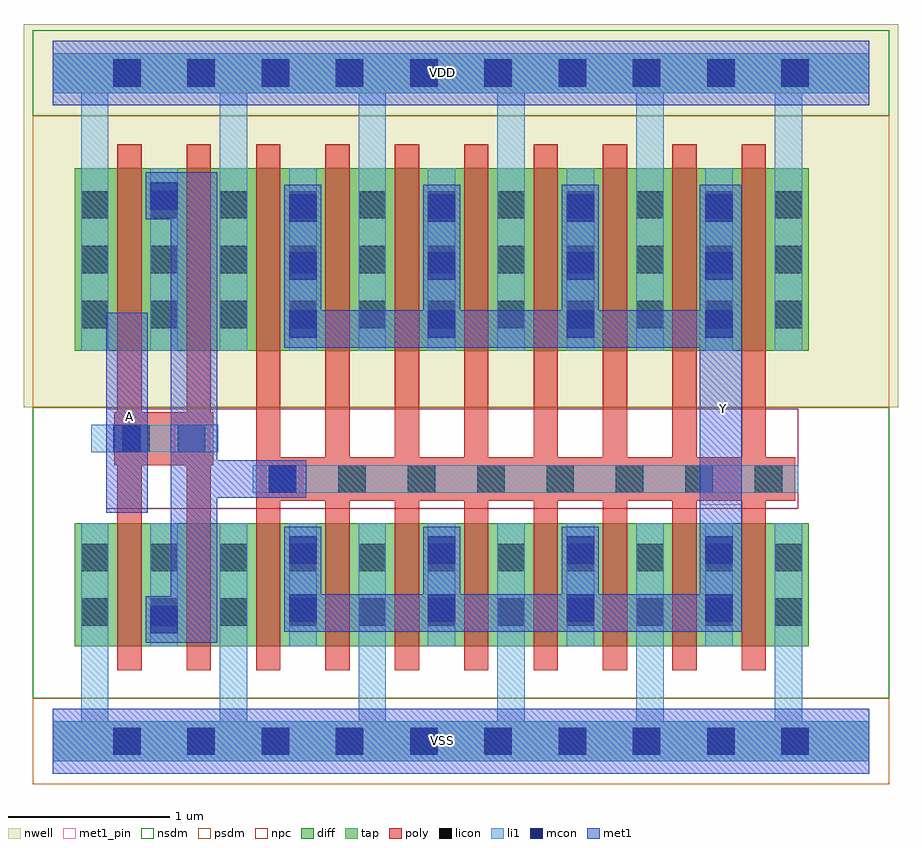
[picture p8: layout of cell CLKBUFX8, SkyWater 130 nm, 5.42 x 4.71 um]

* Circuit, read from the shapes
.subckt CLKBUFX8 A VDD VSS Y
XM1 n1 A VSS VSS sky130_fd_pr__nfet_01v8 w=0.76 l=0.15 m=2
XM2 Y n1 VSS VSS sky130_fd_pr__nfet_01v8 w=0.76 l=0.15 m=8
XM3 n1 A VDD VDD sky130_fd_pr__pfet_01v8 w=1.13 l=0.15 m=2
XM4 Y n1 VDD VDD sky130_fd_pr__pfet_01v8 w=1.13 l=0.15 m=8
.ends

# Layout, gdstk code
from math import pi, radians
import gdstk
lib = gdstk.Library(unit=1e-6, precision=1e-09)
def R(c, l, rs):  # rectangles x0, y0, x1, y1
    for r in rs: c.add(gdstk.rectangle(r[:2], r[2:], *l))
def A(c, l, x, y, w, h, nx, ny, dx, dy):  # array of equal rectangles
    R(c, l, [(x+i*dx, y+j*dy, x+i*dx+w, y+j*dy+h) for i in range(nx) for j in range(ny)])
def P(c, l, *ps):  # polygons
    for p in ps: c.add(gdstk.Polygon(p, *l))
nwell = (64, 20)
diff = (65, 20)
tap = (65, 44)
poly = (66, 20)
licon = (66, 44)
li1 = (67, 20)
mcon = (67, 44)
met1_pin = (68, 16)
met1 = (68, 20)
nsdm = (93, 44)
psdm = (94, 20)
npc = (95, 20)

l1m1_c_cdns_751554744753 = lib.new_cell('L1M1_C_CDNS_751554744753')
R(l1m1_c_cdns_751554744753, li1, [(-0.085,-0.165,0.085,0.165)])
R(l1m1_c_cdns_751554744753, mcon, [(-0.085,-0.085,0.085,0.085)])
R(l1m1_c_cdns_751554744753, met1, [(-0.115,-0.145,0.115,0.145)])

pyl1con_c_cdns_751554744 = lib.new_cell('PYL1CON_C_CDNS_751554744751')
R(pyl1con_c_cdns_751554744, poly, [(-0.135,-0.165,0.135,0.165)])
R(pyl1con_c_cdns_751554744, licon, [(-0.085,-0.085,0.085,0.085)])
R(pyl1con_c_cdns_751554744, npc, [(-0.185,-0.185,0.185,0.185)])

l1m1_c_cdns_751554744750 = lib.new_cell('L1M1_C_CDNS_751554744750')
R(l1m1_c_cdns_751554744750, li1, [(-0.165,-0.085,0.165,0.085)])
R(l1m1_c_cdns_751554744750, mcon, [(-0.085,-0.085,0.085,0.085)])
R(l1m1_c_cdns_751554744750, met1, [(-0.115,-0.145,0.115,0.145)])

l1m1_c_cdns_751554744752 = lib.new_cell('L1M1_C_CDNS_751554744752')
R(l1m1_c_cdns_751554744752, li1, [(-0.085,-0.345,0.085,0.345)])
R(l1m1_c_cdns_751554744752, mcon, [(-0.085,-0.265,0.085,-0.095), (-0.085,0.095,0.085,0.265)])
R(l1m1_c_cdns_751554744752, met1, [(-0.115,-0.325,0.115,0.325)])

l1m1_c_cdns_751554744757 = lib.new_cell('L1M1_C_CDNS_751554744757')
R(l1m1_c_cdns_751554744757, li1, [(-0.085,-0.525,0.085,0.525)])
A(l1m1_c_cdns_751554744757, mcon, -0.085, -0.445, 0.17, 0.17, 1, 3, 0, 0.36)
R(l1m1_c_cdns_751554744757, met1, [(-0.115,-0.505,0.115,0.505)])

polyconn_cdns_7515547447 = lib.new_cell('polyConn_CDNS_751554744751')
R(polyconn_cdns_7515547447, poly, [(-0.135,-0.165,0.135,0.165)])
R(polyconn_cdns_7515547447, licon, [(-0.085,-0.085,0.085,0.085)])
R(polyconn_cdns_7515547447, li1, [(-0.085,-0.165,0.085,0.165)])
R(polyconn_cdns_7515547447, mcon, [(-0.085,-0.085,0.085,0.085)])
R(polyconn_cdns_7515547447, met1, [(-0.115,-0.145,0.115,0.145)])
R(polyconn_cdns_7515547447, npc, [(-0.185,-0.185,0.185,0.185)])

c_pyl1con_c_cdns_751554744 = lib.new_cell('PYL1CON_C_CDNS_7515547447517')
R(c_pyl1con_c_cdns_751554744, poly, [(-0.165,-0.135,0.165,0.135)])
R(c_pyl1con_c_cdns_751554744, licon, [(-0.085,-0.085,0.085,0.085)])
R(c_pyl1con_c_cdns_751554744, npc, [(-0.185,-0.185,0.185,0.185)])

clkbufx8 = lib.new_cell('CLKBUFX8')
R(clkbufx8, nwell, [(-0.18,2.07,5.24,4.445)])
R(clkbufx8, diff, [(0.135,0.59,4.685,1.35), (0.135,2.42,4.685,3.55)])
P(clkbufx8, poly, [(4.56,1.76),(4.42,1.76),(4.42,3.7),(4.27,3.7),(4.27,1.76),(3.99,1.76),(3.99,3.7),(3.84,3.7),(3.84,1.76),(3.56,1.76),(3.56,3.7),(3.41,3.7),(3.41,1.76),(3.13,1.76),(3.13,3.7),(2.98,3.7),(2.98,1.76),(2.7,1.76),(2.7,3.7),(2.55,3.7),(2.55,1.76),(2.27,1.76),(2.27,3.7),(2.12,3.7),(2.12,1.76),(1.84,1.76),(1.84,3.7),(1.69,3.7),(1.69,1.76),(1.41,1.76),(1.41,3.7),(1.26,3.7),(1.26,0.44),(1.41,0.44),(1.41,1.49),(1.69,1.49),(1.69,0.44),(1.84,0.44),(1.84,1.49),(2.12,1.49),(2.12,0.44),(2.27,0.44),(2.27,1.49),(2.55,1.49),(2.55,0.44),(2.7,0.44),(2.7,1.49),(2.98,1.49),(2.98,0.44),(3.13,0.44),(3.13,1.49),(3.41,1.49),(3.41,0.44),(3.56,0.44),(3.56,1.49),(3.84,1.49),(3.84,0.44),(3.99,0.44),(3.99,1.49),(4.27,1.49),(4.27,0.44),(4.42,0.44),(4.42,1.49),(4.56,1.49)],
  [(0.98,3.7),(0.83,3.7),(0.83,2.04),(0.55,2.04),(0.55,3.7),(0.4,3.7),(0.4,2.04),(0.38,2.04),(0.38,1.71),(0.4,1.71),(0.4,0.44),(0.55,0.44),(0.55,1.71),(0.83,1.71),(0.83,0.44),(0.98,0.44)])
A(clkbufx8, licon, 0.375, -0.085, 0.17, 0.17, 10, 2, 0.46, 4.14)
A(clkbufx8, licon, 0.175, 0.715, 0.17, 0.17, 11, 2, 0.43, 0.34)
A(clkbufx8, licon, 0.175, 2.56, 0.17, 0.17, 11, 3, 0.43, 0.34)
A(clkbufx8, li1, 0.605, 0.59, 0.17, 0.76, 5, 1, 0.86, 0)
A(clkbufx8, li1, 0.605, 2.42, 0.17, 1.13, 5, 1, 0.86, 0)
P(clkbufx8, li1, [(5.06,0.125),(4.645,0.125),(4.645,1.35),(4.475,1.35),(4.475,0.125),(3.785,0.125),(3.785,1.35),(3.615,1.35),(3.615,0.125),(2.925,0.125),(2.925,1.35),(2.755,1.35),(2.755,0.125),(2.065,0.125),(2.065,1.35),(1.895,1.35),(1.895,0.125),(1.205,0.125),(1.205,1.35),(1.035,1.35),(1.035,0.125),(0.345,0.125),(0.345,1.35),(0.175,1.35),(0.175,0.125),(0,0.125),(0,-0.125),(5.06,-0.125)],
  [(5.06,4.265),(0,4.265),(0,4.015),(0.175,4.015),(0.175,2.42),(0.345,2.42),(0.345,4.015),(1.035,4.015),(1.035,2.42),(1.205,2.42),(1.205,4.015),(1.895,4.015),(1.895,2.42),(2.065,2.42),(2.065,4.015),(2.755,4.015),(2.755,2.42),(2.925,2.42),(2.925,4.015),(3.615,4.015),(3.615,2.42),(3.785,2.42),(3.785,4.015),(4.475,4.015),(4.475,2.42),(4.645,2.42),(4.645,4.015),(5.06,4.015)])
A(clkbufx8, mcon, 0.375, -0.085, 0.17, 0.17, 10, 2, 0.46, 4.14)
R(clkbufx8, met1_pin, [(0.33,1.415,0.59,2.655), (4.01,1.465,4.27,2.705)])
P(clkbufx8, met1, [(1.415,1.74),(1.02,1.74),(1.02,3.525),(0.73,3.525),(0.73,0.61),(1.02,0.61),(1.02,1.51),(1.415,1.51)],
  [(4.27,3.45),(4.01,3.45),(4.01,2.67),(1.665,2.67),(1.665,2.945),(1.435,2.945),(1.435,2.44),(4.01,2.44),(4.01,0.91),(2.525,0.91),(2.525,1.005),(2.295,1.005),(2.295,0.91),(1.665,0.91),(1.665,1.005),(1.435,1.005),(1.435,0.68),(4.27,0.68)])
R(clkbufx8, nsdm, [(-0.125,0.265,5.185,2.07), (-0.125,3.875,5.185,4.405)])
R(clkbufx8, psdm, [(-0.125,-0.265,5.185,0.265), (-0.125,2.07,5.185,3.875)])
R(clkbufx8, npc, [(0.33,1.44,4.62,2.06)])
clkbufx8.add(gdstk.FlexPath([(1.24,1.625),(4.62,1.625)], 0.17, ends="flush", simple_path=True, layer=67, datatype=20))  # li1
clkbufx8.add(gdstk.FlexPath([(0.24,1.875),(1.025,1.875)], 0.17, ends="flush", simple_path=True, layer=67, datatype=20))  # li1
clkbufx8.add(gdstk.FlexPath([(0,4.14),(5.06,4.14)], 0.25, ends="flush", simple_path=True, layer=65, datatype=44))  # tap
clkbufx8.add(gdstk.FlexPath([(0,0),(5.06,0)], 0.25, ends="flush", simple_path=True, layer=65, datatype=44))  # tap
clkbufx8.add(gdstk.FlexPath([(0,0),(5.06,0)], 0.4, ends="flush", simple_path=True, layer=68, datatype=20))  # met1
clkbufx8.add(gdstk.FlexPath([(0,4.14),(5.06,4.14)], 0.4, ends="flush", simple_path=True, layer=68, datatype=20))  # met1
clkbufx8.add(gdstk.FlexPath([(0.46,1.415),(0.46,2.655)], 0.26, ends="flush", simple_path=True, layer=68, datatype=20))  # met1
clkbufx8.add(gdstk.FlexPath([(0,4.14),(5.06,4.14)], 0.4, ends="flush", simple_path=True, layer=68, datatype=16))  # met1_pin
clkbufx8.add(gdstk.FlexPath([(0,0),(5.06,0)], 0.4, ends="flush", simple_path=True, layer=68, datatype=16))  # met1_pin
clkbufx8.add(gdstk.Reference(l1m1_c_cdns_751554744753, (0.69,3.38)))
clkbufx8.add(gdstk.Reference(l1m1_c_cdns_751554744753, (0.69,0.755)))
clkbufx8.add(gdstk.Reference(pyl1con_c_cdns_751554744, (4.435,1.625), rotation=3*pi/2, x_reflection=True))
clkbufx8.add(gdstk.Reference(pyl1con_c_cdns_751554744, (4.005,1.625), rotation=3*pi/2, x_reflection=True))
clkbufx8.add(gdstk.Reference(pyl1con_c_cdns_751554744, (3.575,1.625), rotation=3*pi/2, x_reflection=True))
clkbufx8.add(gdstk.Reference(pyl1con_c_cdns_751554744, (3.145,1.625), rotation=3*pi/2, x_reflection=True))
clkbufx8.add(gdstk.Reference(pyl1con_c_cdns_751554744, (2.715,1.625), rotation=3*pi/2, x_reflection=True))
clkbufx8.add(gdstk.Reference(pyl1con_c_cdns_751554744, (2.285,1.625), rotation=3*pi/2, x_reflection=True))
clkbufx8.add(gdstk.Reference(pyl1con_c_cdns_751554744, (1.855,1.625), rotation=3*pi/2, x_reflection=True))
clkbufx8.add(gdstk.Reference(l1m1_c_cdns_751554744750, (0.46,1.875), x_reflection=True))
clkbufx8.add(gdstk.Reference(l1m1_c_cdns_751554744752, (4.13,1.005)))
clkbufx8.add(gdstk.Reference(l1m1_c_cdns_751554744752, (3.27,1.005)))
clkbufx8.add(gdstk.Reference(l1m1_c_cdns_751554744752, (2.41,1.005)))
clkbufx8.add(gdstk.Reference(l1m1_c_cdns_751554744752, (1.55,1.005)))
clkbufx8.add(gdstk.Reference(l1m1_c_cdns_751554744757, (4.13,2.945)))
clkbufx8.add(gdstk.Reference(l1m1_c_cdns_751554744757, (3.27,2.945)))
clkbufx8.add(gdstk.Reference(l1m1_c_cdns_751554744757, (2.41,2.945)))
clkbufx8.add(gdstk.Reference(l1m1_c_cdns_751554744757, (1.55,2.945)))
clkbufx8.add(gdstk.Reference(polyconn_cdns_7515547447, (1.425,1.625), rotation=3*pi/2))
clkbufx8.add(gdstk.Reference(c_pyl1con_c_cdns_751554744, (0.86,1.875), rotation=3*pi/2, x_reflection=True))
clkbufx8.add(gdstk.Reference(c_pyl1con_c_cdns_751554744, (0.515,1.875), rotation=3*pi/2, x_reflection=True))
clkbufx8.add(gdstk.Label('VDD', (2.415,4.145), layer=68, texttype=5))
clkbufx8.add(gdstk.Label('Y', (4.155,2.06), layer=68, texttype=5))
clkbufx8.add(gdstk.Label('VSS', (2.415,0.005), layer=68, texttype=5))
clkbufx8.add(gdstk.Label('A', (0.475,2.01), layer=68, texttype=5))

lib.write_gds('CLKBUFX8.gds')
